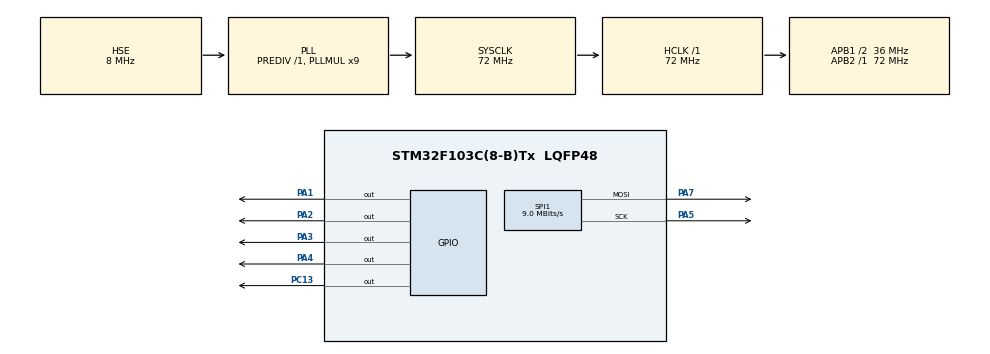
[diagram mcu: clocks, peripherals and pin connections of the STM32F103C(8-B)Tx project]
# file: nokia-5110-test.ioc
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Mcu.Family=STM32F1
Mcu.Name=STM32F103C(8-B)Tx
Mcu.Package=LQFP48
NVIC.PriorityGroup=NVIC_PRIORITYGROUP_4
PA1.Signal=GPIO_Output
PA13.Mode=Serial_Wire
PA13.Signal=SYS_JTMS-SWDIO
PA14.Mode=Serial_Wire
PA14.Signal=SYS_JTCK-SWCLK
PA2.PinState=GPIO_PIN_SET
PA2.Signal=GPIO_Output
PA3.GPIO_ModeDefaultOutputPP=GPIO_MODE_OUTPUT_PP
PA3.GPIO_PuPd=GPIO_NOPULL
PA3.PinState=GPIO_PIN_SET
PA3.Signal=GPIO_Output
PA4.PinState=GPIO_PIN_SET
PA4.Signal=GPIO_Output
PA5.Mode=TX_Only_Simplex_Unidirect_Master
PA5.Signal=SPI1_SCK
PA7.Mode=TX_Only_Simplex_Unidirect_Master
PA7.Signal=SPI1_MOSI
PC13-TAMPER-RTC.Signal=GPIO_Output
PD0-OSC_IN.Mode=HSE-External-Oscillator
PD0-OSC_IN.Signal=RCC_OSC_IN
PD1-OSC_OUT.Mode=HSE-External-Oscillator
PD1-OSC_OUT.Signal=RCC_OSC_OUT
ProjectManager.HeapSize=0x200
ProjectManager.StackSize=0x400
ProjectManager.TargetToolchain=Makefile
RCC.AHBFreq_Value=72000000
RCC.APB1CLKDivider=RCC_HCLK_DIV2
RCC.APB1Freq_Value=36000000
RCC.APB1TimFreq_Value=72000000
RCC.APB2Freq_Value=72000000
RCC.APB2TimFreq_Value=72000000
RCC.HCLKFreq_Value=72000000
RCC.PLLMUL=RCC_PLL_MUL9
RCC.PLLSourceVirtual=RCC_PLLSOURCE_HSE
RCC.SYSCLKFreq_VALUE=72000000
RCC.SYSCLKSource=RCC_SYSCLKSOURCE_PLLCLK
RCC.USBFreq_Value=72000000
SPI1.BaudRatePrescaler=SPI_BAUDRATEPRESCALER_8
SPI1.CLKPolarity=SPI_POLARITY_LOW
SPI1.CalculateBaudRate=9.0 MBits/s
SPI1.Direction=SPI_DIRECTION_2LINES
SPI1.Mode=SPI_MODE_MASTER
SPI1.VirtualType=VM_MASTER
board=custom

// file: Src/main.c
/* USER CODE BEGIN Header */
/**
 ******************************************************************************
 * @file           : main.c
 * @brief          : Main program body
 ******************************************************************************
 * @attention
 *
 * Copyright (c) 2022 STMicroelectronics.
 * All rights reserved.
 *
 * This software is licensed under terms that can be found in the LICENSE file
 * in the root directory of this software component.
 * If no LICENSE file comes with this software, it is provided AS-IS.
 *
 ******************************************************************************
 */
/* USER CODE END Header */
#include "main.h"

/* USER CODE BEGIN Includes */
#include "display.h"
#include "font.h"
#include "heart.h"
/* USER CODE END Includes */

SPI_HandleTypeDef hspi1;

void SystemClock_Config(void);
static void MX_GPIO_Init(void);
static void MX_SPI1_Init(void);

int main(void)
{

  /* MCU Configuration--------------------------------------------------------*/

  /* Reset of all peripherals, Initializes the Flash interface and the Systick. */
  HAL_Init();

  /* Configure the system clock */
  SystemClock_Config();

  /* Initialize all configured peripherals */
  MX_GPIO_Init();
  MX_SPI1_Init();

  /* Infinite loop */
  /* USER CODE BEGIN WHILE */

  lcd_set_chip_enable_pin(GPIOA, GPIO_PIN_4);
  lcd_set_light_pin(GPIOA, GPIO_PIN_3);
  lcd_set_reset_pin(GPIOA, GPIO_PIN_2);
  lcd_set_data_command_pin(GPIOA, GPIO_PIN_1);

  lcd_set_spi_handle(&hspi1);

  lcd_set_font(basic_font);
  lcd_set_contrast(0xb0);
  lcd_set_temp_control(0);
  lcd_set_bias_mode(0x13);
  lcd_backlight(1);

  uint64_t x = 0;

  while (1)
  {
    /* USER CODE END WHILE */

    /* USER CODE BEGIN 3 */
    lcd_clear();

    int heart_y_pos = 30 + (int)(sin(x++ / 20) * 3);
    lcd_draw_bitmap(&heart, 8, 8, 0, heart_y_pos);

    lcd_print("hello, mom", 0, 0);

    int sine_y_pos = 30;
    int sine_x_pos = 16;
    for (int sine_x = 0; sine_x < 16; sine_x++)
    {
      int val = sin(sine_x + (x / 100)) * 2;
      lcd_set_pixel(sine_x_pos + sine_x, sine_y_pos + val, 1);
    }

    lcd_update();
  }
  /* USER CODE END 3 */
}

void SystemClock_Config(void)
{
  RCC_OscInitTypeDef RCC_OscInitStruct = {0};
  RCC_ClkInitTypeDef RCC_ClkInitStruct = {0};

  /** Initializes the RCC Oscillators according to the specified parameters
   * in the RCC_OscInitTypeDef structure.
   */
  RCC_OscInitStruct.OscillatorType = RCC_OSCILLATORTYPE_HSE;
  RCC_OscInitStruct.HSEState = RCC_HSE_ON;
  RCC_OscInitStruct.HSEPredivValue = RCC_HSE_PREDIV_DIV1;
  RCC_OscInitStruct.HSIState = RCC_HSI_ON;
  RCC_OscInitStruct.PLL.PLLState = RCC_PLL_ON;
  RCC_OscInitStruct.PLL.PLLSource = RCC_PLLSOURCE_HSE;
  RCC_OscInitStruct.PLL.PLLMUL = RCC_PLL_MUL9;
  if (HAL_RCC_OscConfig(&RCC_OscInitStruct) != HAL_OK)
  {
    Error_Handler();
  }

  /** Initializes the CPU, AHB and APB buses clocks
   */
  RCC_ClkInitStruct.ClockType = RCC_CLOCKTYPE_HCLK | RCC_CLOCKTYPE_SYSCLK | RCC_CLOCKTYPE_PCLK1 | RCC_CLOCKTYPE_PCLK2;
  RCC_ClkInitStruct.SYSCLKSource = RCC_SYSCLKSOURCE_PLLCLK;
  RCC_ClkInitStruct.AHBCLKDivider = RCC_SYSCLK_DIV1;
  RCC_ClkInitStruct.APB1CLKDivider = RCC_HCLK_DIV2;
  RCC_ClkInitStruct.APB2CLKDivider = RCC_HCLK_DIV1;

  if (HAL_RCC_ClockConfig(&RCC_ClkInitStruct, FLASH_LATENCY_2) != HAL_OK)
  {
    Error_Handler();
  }
}

static void MX_SPI1_Init(void)
{

  /* SPI1 parameter configuration*/
  hspi1.Instance = SPI1;
  hspi1.Init.Mode = SPI_MODE_MASTER;
  hspi1.Init.Direction = SPI_DIRECTION_2LINES;
  hspi1.Init.DataSize = SPI_DATASIZE_8BIT;
  hspi1.Init.CLKPolarity = SPI_POLARITY_LOW;
  hspi1.Init.CLKPhase = SPI_PHASE_1EDGE;
  hspi1.Init.NSS = SPI_NSS_SOFT;
  hspi1.Init.BaudRatePrescaler = SPI_BAUDRATEPRESCALER_8;
  hspi1.Init.FirstBit = SPI_FIRSTBIT_MSB;
  hspi1.Init.TIMode = SPI_TIMODE_DISABLE;
  hspi1.Init.CRCCalculation = SPI_CRCCALCULATION_DISABLE;
  hspi1.Init.CRCPolynomial = 10;
  if (HAL_SPI_Init(&hspi1) != HAL_OK)
  {
    Error_Handler();
  }
}

static void MX_GPIO_Init(void)
{
  GPIO_InitTypeDef GPIO_InitStruct = {0};

  /* GPIO Ports Clock Enable */
  __HAL_RCC_GPIOC_CLK_ENABLE();
  __HAL_RCC_GPIOD_CLK_ENABLE();
  __HAL_RCC_GPIOA_CLK_ENABLE();

  /*Configure GPIO pin Output Level */
  HAL_GPIO_WritePin(GPIOC, GPIO_PIN_13, GPIO_PIN_RESET);

  /*Configure GPIO pin Output Level */
  HAL_GPIO_WritePin(GPIOA, GPIO_PIN_1, GPIO_PIN_RESET);

  /*Configure GPIO pin Output Level */
  HAL_GPIO_WritePin(GPIOA, GPIO_PIN_2 | GPIO_PIN_3 | GPIO_PIN_4, GPIO_PIN_SET);

  /*Configure GPIO pin : PC13 */
  GPIO_InitStruct.Pin = GPIO_PIN_13;
  GPIO_InitStruct.Mode = GPIO_MODE_OUTPUT_PP;
  GPIO_InitStruct.Pull = GPIO_NOPULL;
  GPIO_InitStruct.Speed = GPIO_SPEED_FREQ_LOW;
  HAL_GPIO_Init(GPIOC, &GPIO_InitStruct);

  /*Configure GPIO pins : PA1 PA2 PA3 PA4 */
  GPIO_InitStruct.Pin = GPIO_PIN_1 | GPIO_PIN_2 | GPIO_PIN_3 | GPIO_PIN_4;
  GPIO_InitStruct.Mode = GPIO_MODE_OUTPUT_PP;
  GPIO_InitStruct.Pull = GPIO_NOPULL;
  GPIO_InitStruct.Speed = GPIO_SPEED_FREQ_LOW;
  HAL_GPIO_Init(GPIOA, &GPIO_InitStruct);
}

void Error_Handler(void)
{
  __disable_irq();
  while (1)
  {
  }
}
